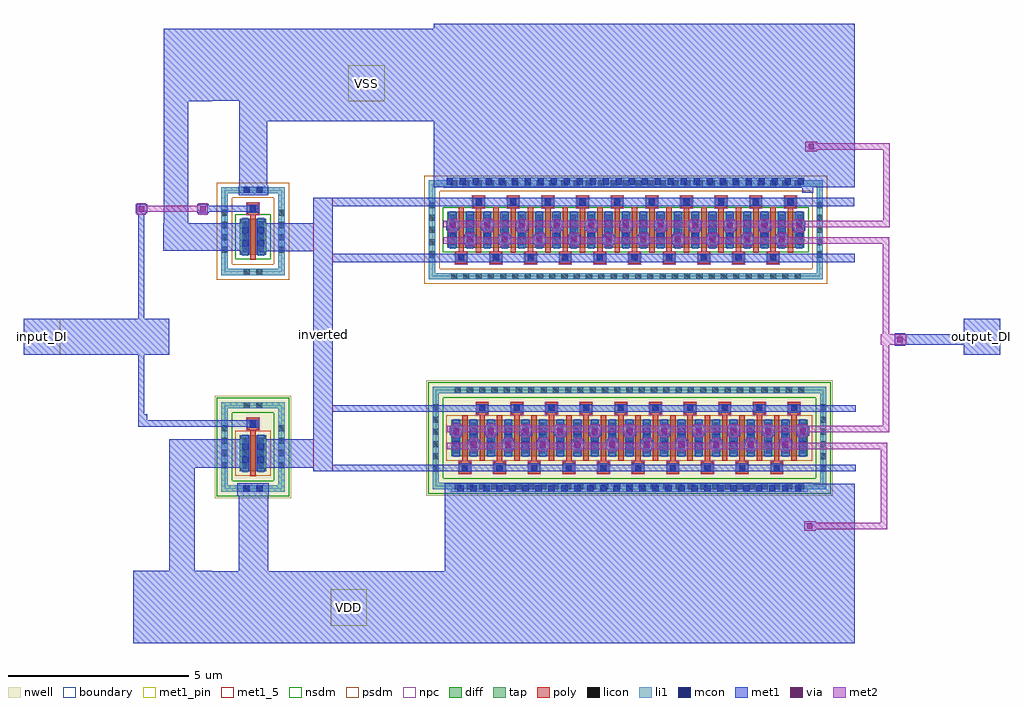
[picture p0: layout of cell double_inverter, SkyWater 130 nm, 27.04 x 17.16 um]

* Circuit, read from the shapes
.subckt double_inverter VDD VSS input_DI inverted output_DI
XM1 inverted input_DI VSS VSS sky130_fd_pr__nfet_01v8 w=1 l=0.15
XM2 output_DI inverted VSS VSS sky130_fd_pr__nfet_01v8 w=1 l=0.15 m=20
XM3 inverted input_DI VDD VDD sky130_fd_pr__pfet_01v8 w=1 l=0.15
XM4 VDD inverted output_DI VDD sky130_fd_pr__pfet_01v8 w=1 l=0.15 m=20
.ends

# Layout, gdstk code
import gdstk
lib = gdstk.Library(unit=1e-6, precision=1e-09)
def R(c, l, rs):  # rectangles x0, y0, x1, y1
    for r in rs: c.add(gdstk.rectangle(r[:2], r[2:], *l))
def A(c, l, x, y, w, h, nx, ny, dx, dy):  # array of equal rectangles
    R(c, l, [(x+i*dx, y+j*dy, x+i*dx+w, y+j*dy+h) for i in range(nx) for j in range(ny)])
nwell = (64, 20)
diff = (65, 20)
tap = (65, 44)
poly = (66, 20)
licon = (66, 44)
li1 = (67, 20)
mcon = (67, 44)
met1_5 = (68, 5)
met1_pin = (68, 16)
met1 = (68, 20)
via = (68, 44)
met2 = (69, 20)
nsdm = (93, 44)
psdm = (94, 20)
npc = (95, 20)
boundary = (235, 4)

sky130_fd_pr__pfet_01v8_ = lib.new_cell('sky130_fd_pr__pfet_01v8_NHFQ4K')
R(sky130_fd_pr__pfet_01v8_, nwell, [(-5.635,-1.595,5.635,1.595)])
R(sky130_fd_pr__pfet_01v8_, diff, [(-4.945,-0.5,4.945,0.5)])
R(sky130_fd_pr__pfet_01v8_, tap, [(-5.455,-1.415,5.455,-1.245), (-5.455,-1.245,-5.285,1.245), (5.285,-1.245,5.455,1.245), (-5.455,1.245,5.455,1.415)])
A(sky130_fd_pr__pfet_01v8_, poly, -4.725, -0.985, 0.33, 0.33, 10, 1, 0.96, 0)
A(sky130_fd_pr__pfet_01v8_, poly, -4.635, -0.655, 0.15, 1.285, 10, 1, 0.96, 0)
A(sky130_fd_pr__pfet_01v8_, poly, -4.155, -0.63, 0.15, 1.285, 10, 1, 0.96, 0)
A(sky130_fd_pr__pfet_01v8_, poly, -4.245, 0.655, 0.33, 0.33, 10, 1, 0.96, 0)
A(sky130_fd_pr__pfet_01v8_, licon, -4.845, -1.415, 0.17, 0.17, 29, 2, 0.34, 2.66)
A(sky130_fd_pr__pfet_01v8_, licon, -5.455, -0.935, 0.17, 0.17, 1, 6, 0, 0.34)
A(sky130_fd_pr__pfet_01v8_, licon, 5.285, -0.935, 0.17, 0.17, 1, 6, 0, 0.34)
A(sky130_fd_pr__pfet_01v8_, licon, -4.645, -0.905, 0.17, 0.17, 10, 1, 0.96, 0)
A(sky130_fd_pr__pfet_01v8_, licon, -4.885, -0.425, 0.17, 0.17, 21, 3, 0.48, 0.34)
A(sky130_fd_pr__pfet_01v8_, licon, -4.165, 0.735, 0.17, 0.17, 10, 1, 0.96, 0)
A(sky130_fd_pr__pfet_01v8_, li1, -4.725, -0.905, 0.33, 0.17, 10, 1, 0.96, 0)
A(sky130_fd_pr__pfet_01v8_, li1, -4.885, -0.52, 0.17, 1.04, 21, 1, 0.48, 0)
A(sky130_fd_pr__pfet_01v8_, li1, -4.245, 0.735, 0.33, 0.17, 10, 1, 0.96, 0)
R(sky130_fd_pr__pfet_01v8_, li1, [(-5.455,-1.415,5.455,-1.245), (-5.455,-1.245,-5.285,1.245), (5.285,-1.245,5.455,1.245), (-5.455,1.245,5.455,1.415)])
A(sky130_fd_pr__pfet_01v8_, mcon, -4.645, -0.905, 0.17, 0.17, 10, 1, 0.96, 0)
A(sky130_fd_pr__pfet_01v8_, mcon, -4.885, -0.265, 0.17, 0.17, 21, 2, 0.48, 0.36)
A(sky130_fd_pr__pfet_01v8_, mcon, -4.165, 0.735, 0.17, 0.17, 10, 1, 0.96, 0)
A(sky130_fd_pr__pfet_01v8_, met1, -4.705, -0.935, 0.29, 0.23, 10, 1, 0.96, 0)
A(sky130_fd_pr__pfet_01v8_, met1, -4.915, -0.5, 0.23, 1, 21, 1, 0.48, 0)
A(sky130_fd_pr__pfet_01v8_, met1, -4.225, 0.705, 0.29, 0.23, 10, 1, 0.96, 0)
R(sky130_fd_pr__pfet_01v8_, nsdm, [(-5.58,-1.54,5.58,-1.12), (-5.58,-1.12,-5.16,1.12), (5.16,-1.12,5.58,1.12), (-5.58,1.12,5.58,1.54)])
R(sky130_fd_pr__pfet_01v8_, psdm, [(-5.07,-0.625,5.07,0.625)])
A(sky130_fd_pr__pfet_01v8_, npc, -4.745, -1.005, 0.37, 0.37, 10, 1, 0.96, 0)
A(sky130_fd_pr__pfet_01v8_, npc, -4.265, 0.635, 0.37, 0.37, 10, 1, 0.96, 0)
R(sky130_fd_pr__pfet_01v8_, boundary, [(-5.37,-1.33,5.37,1.33)])
sky130_fd_pr__pfet_01v8_.add(gdstk.Label('B', (0,-1.33), layer=67, texttype=5))
sky130_fd_pr__pfet_01v8_.add(gdstk.Label('D0', (-4.8,0), layer=67, texttype=5))
sky130_fd_pr__pfet_01v8_.add(gdstk.Label('G0', (-4.56,-0.82), layer=67, texttype=5))
sky130_fd_pr__pfet_01v8_.add(gdstk.Label('S1', (-4.32,0), layer=67, texttype=5))
sky130_fd_pr__pfet_01v8_.add(gdstk.Label('G1', (-4.08,0.82), layer=67, texttype=5))
sky130_fd_pr__pfet_01v8_.add(gdstk.Label('D2', (-3.84,0), layer=67, texttype=5))
sky130_fd_pr__pfet_01v8_.add(gdstk.Label('G2', (-3.6,-0.82), layer=67, texttype=5))
sky130_fd_pr__pfet_01v8_.add(gdstk.Label('S3', (-3.36,0), layer=67, texttype=5))
sky130_fd_pr__pfet_01v8_.add(gdstk.Label('G3', (-3.12,0.82), layer=67, texttype=5))
sky130_fd_pr__pfet_01v8_.add(gdstk.Label('D4', (-2.88,0), layer=67, texttype=5))
sky130_fd_pr__pfet_01v8_.add(gdstk.Label('G4', (-2.64,-0.82), layer=67, texttype=5))
sky130_fd_pr__pfet_01v8_.add(gdstk.Label('S5', (-2.4,0), layer=67, texttype=5))
sky130_fd_pr__pfet_01v8_.add(gdstk.Label('G5', (-2.16,0.82), layer=67, texttype=5))
sky130_fd_pr__pfet_01v8_.add(gdstk.Label('D6', (-1.92,0), layer=67, texttype=5))
sky130_fd_pr__pfet_01v8_.add(gdstk.Label('G6', (-1.68,-0.82), layer=67, texttype=5))
sky130_fd_pr__pfet_01v8_.add(gdstk.Label('S7', (-1.44,0), layer=67, texttype=5))
sky130_fd_pr__pfet_01v8_.add(gdstk.Label('G7', (-1.2,0.82), layer=67, texttype=5))
sky130_fd_pr__pfet_01v8_.add(gdstk.Label('D8', (-0.96,0), layer=67, texttype=5))
sky130_fd_pr__pfet_01v8_.add(gdstk.Label('G8', (-0.72,-0.82), layer=67, texttype=5))
sky130_fd_pr__pfet_01v8_.add(gdstk.Label('S9', (-0.48,0), layer=67, texttype=5))
sky130_fd_pr__pfet_01v8_.add(gdstk.Label('G9', (-0.24,0.82), layer=67, texttype=5))
sky130_fd_pr__pfet_01v8_.add(gdstk.Label('D10', (0,0), layer=67, texttype=5))
sky130_fd_pr__pfet_01v8_.add(gdstk.Label('G10', (0.24,-0.82), layer=67, texttype=5))
sky130_fd_pr__pfet_01v8_.add(gdstk.Label('S11', (0.48,0), layer=67, texttype=5))
sky130_fd_pr__pfet_01v8_.add(gdstk.Label('G11', (0.72,0.82), layer=67, texttype=5))
sky130_fd_pr__pfet_01v8_.add(gdstk.Label('D12', (0.96,0), layer=67, texttype=5))
sky130_fd_pr__pfet_01v8_.add(gdstk.Label('G12', (1.2,-0.82), layer=67, texttype=5))
sky130_fd_pr__pfet_01v8_.add(gdstk.Label('S13', (1.44,0), layer=67, texttype=5))
sky130_fd_pr__pfet_01v8_.add(gdstk.Label('G13', (1.68,0.82), layer=67, texttype=5))
sky130_fd_pr__pfet_01v8_.add(gdstk.Label('D14', (1.92,0), layer=67, texttype=5))
sky130_fd_pr__pfet_01v8_.add(gdstk.Label('G14', (2.16,-0.82), layer=67, texttype=5))
sky130_fd_pr__pfet_01v8_.add(gdstk.Label('S15', (2.4,0), layer=67, texttype=5))
sky130_fd_pr__pfet_01v8_.add(gdstk.Label('G15', (2.64,0.82), layer=67, texttype=5))
sky130_fd_pr__pfet_01v8_.add(gdstk.Label('D16', (2.88,0), layer=67, texttype=5))
sky130_fd_pr__pfet_01v8_.add(gdstk.Label('G16', (3.12,-0.82), layer=67, texttype=5))
sky130_fd_pr__pfet_01v8_.add(gdstk.Label('S17', (3.36,0), layer=67, texttype=5))
sky130_fd_pr__pfet_01v8_.add(gdstk.Label('G17', (3.6,0.82), layer=67, texttype=5))
sky130_fd_pr__pfet_01v8_.add(gdstk.Label('D18', (3.84,0), layer=67, texttype=5))
sky130_fd_pr__pfet_01v8_.add(gdstk.Label('G18', (4.08,-0.82), layer=67, texttype=5))
sky130_fd_pr__pfet_01v8_.add(gdstk.Label('S19', (4.32,0), layer=67, texttype=5))
sky130_fd_pr__pfet_01v8_.add(gdstk.Label('G19', (4.56,0.82), layer=67, texttype=5))

sky130_fd_pr__nfet_01v8_ = lib.new_cell('sky130_fd_pr__nfet_01v8_Z2PLTM')
R(sky130_fd_pr__nfet_01v8_, diff, [(-4.945,-0.5,4.945,0.5)])
R(sky130_fd_pr__nfet_01v8_, tap, [(-5.455,-1.37,5.455,-1.2), (-5.455,-1.2,-5.285,1.2), (5.285,-1.2,5.455,1.2), (-5.455,1.2,5.455,1.37)])
A(sky130_fd_pr__nfet_01v8_, poly, -4.725, -0.94, 0.33, 0.33, 10, 1, 0.96, 0)
A(sky130_fd_pr__nfet_01v8_, poly, -4.155, -0.63, 0.15, 1.24, 10, 1, 0.96, 0)
A(sky130_fd_pr__nfet_01v8_, poly, -4.635, -0.61, 0.15, 1.24, 10, 1, 0.96, 0)
A(sky130_fd_pr__nfet_01v8_, poly, -4.245, 0.61, 0.33, 0.33, 10, 1, 0.96, 0)
A(sky130_fd_pr__nfet_01v8_, licon, -4.845, -1.37, 0.17, 0.17, 29, 2, 0.34, 2.57)
A(sky130_fd_pr__nfet_01v8_, licon, -4.645, -0.86, 0.17, 0.17, 10, 1, 0.96, 0)
A(sky130_fd_pr__nfet_01v8_, licon, -5.455, -0.765, 0.17, 0.17, 1, 5, 0, 0.34)
A(sky130_fd_pr__nfet_01v8_, licon, 5.285, -0.765, 0.17, 0.17, 1, 5, 0, 0.34)
A(sky130_fd_pr__nfet_01v8_, licon, -4.885, -0.425, 0.17, 0.17, 21, 3, 0.48, 0.34)
A(sky130_fd_pr__nfet_01v8_, licon, -4.165, 0.69, 0.17, 0.17, 10, 1, 0.96, 0)
A(sky130_fd_pr__nfet_01v8_, li1, -4.725, -0.86, 0.33, 0.17, 10, 1, 0.96, 0)
A(sky130_fd_pr__nfet_01v8_, li1, -4.885, -0.52, 0.17, 1.04, 21, 1, 0.48, 0)
A(sky130_fd_pr__nfet_01v8_, li1, -4.245, 0.69, 0.33, 0.17, 10, 1, 0.96, 0)
R(sky130_fd_pr__nfet_01v8_, li1, [(-5.455,-1.37,5.455,-1.2), (-5.455,-1.2,-5.285,1.2), (5.285,-1.2,5.455,1.2), (-5.455,1.2,5.455,1.37)])
A(sky130_fd_pr__nfet_01v8_, mcon, -4.645, -0.86, 0.17, 0.17, 10, 1, 0.96, 0)
A(sky130_fd_pr__nfet_01v8_, mcon, -4.885, -0.265, 0.17, 0.17, 21, 2, 0.48, 0.36)
A(sky130_fd_pr__nfet_01v8_, mcon, -4.165, 0.69, 0.17, 0.17, 10, 1, 0.96, 0)
A(sky130_fd_pr__nfet_01v8_, met1, -4.705, -0.89, 0.29, 0.23, 10, 1, 0.96, 0)
A(sky130_fd_pr__nfet_01v8_, met1, -4.915, -0.5, 0.23, 1, 21, 1, 0.48, 0)
A(sky130_fd_pr__nfet_01v8_, met1, -4.225, 0.66, 0.29, 0.23, 10, 1, 0.96, 0)
R(sky130_fd_pr__nfet_01v8_, nsdm, [(-5.07,-0.625,5.07,0.625)])
R(sky130_fd_pr__nfet_01v8_, psdm, [(-5.58,-1.495,5.58,-1.075), (-5.58,-1.075,-5.16,1.075), (5.16,-1.075,5.58,1.075), (-5.58,1.075,5.58,1.495)])
A(sky130_fd_pr__nfet_01v8_, npc, -4.745, -0.96, 0.37, 0.37, 10, 1, 0.96, 0)
A(sky130_fd_pr__nfet_01v8_, npc, -4.265, 0.59, 0.37, 0.37, 10, 1, 0.96, 0)
R(sky130_fd_pr__nfet_01v8_, boundary, [(-5.37,-1.285,5.37,1.285)])
sky130_fd_pr__nfet_01v8_.add(gdstk.Label('B', (0,-1.285), layer=67, texttype=5))
sky130_fd_pr__nfet_01v8_.add(gdstk.Label('D0', (-4.8,0), layer=67, texttype=5))
sky130_fd_pr__nfet_01v8_.add(gdstk.Label('G0', (-4.56,-0.775), layer=67, texttype=5))
sky130_fd_pr__nfet_01v8_.add(gdstk.Label('S1', (-4.32,0), layer=67, texttype=5))
sky130_fd_pr__nfet_01v8_.add(gdstk.Label('G1', (-4.08,0.775), layer=67, texttype=5))
sky130_fd_pr__nfet_01v8_.add(gdstk.Label('D2', (-3.84,0), layer=67, texttype=5))
sky130_fd_pr__nfet_01v8_.add(gdstk.Label('G2', (-3.6,-0.775), layer=67, texttype=5))
sky130_fd_pr__nfet_01v8_.add(gdstk.Label('S3', (-3.36,0), layer=67, texttype=5))
sky130_fd_pr__nfet_01v8_.add(gdstk.Label('G3', (-3.12,0.775), layer=67, texttype=5))
sky130_fd_pr__nfet_01v8_.add(gdstk.Label('D4', (-2.88,0), layer=67, texttype=5))
sky130_fd_pr__nfet_01v8_.add(gdstk.Label('G4', (-2.64,-0.775), layer=67, texttype=5))
sky130_fd_pr__nfet_01v8_.add(gdstk.Label('S5', (-2.4,0), layer=67, texttype=5))
sky130_fd_pr__nfet_01v8_.add(gdstk.Label('G5', (-2.16,0.775), layer=67, texttype=5))
sky130_fd_pr__nfet_01v8_.add(gdstk.Label('D6', (-1.92,0), layer=67, texttype=5))
sky130_fd_pr__nfet_01v8_.add(gdstk.Label('G6', (-1.68,-0.775), layer=67, texttype=5))
sky130_fd_pr__nfet_01v8_.add(gdstk.Label('S7', (-1.44,0), layer=67, texttype=5))
sky130_fd_pr__nfet_01v8_.add(gdstk.Label('G7', (-1.2,0.775), layer=67, texttype=5))
sky130_fd_pr__nfet_01v8_.add(gdstk.Label('D8', (-0.96,0), layer=67, texttype=5))
sky130_fd_pr__nfet_01v8_.add(gdstk.Label('G8', (-0.72,-0.775), layer=67, texttype=5))
sky130_fd_pr__nfet_01v8_.add(gdstk.Label('S9', (-0.48,0), layer=67, texttype=5))
sky130_fd_pr__nfet_01v8_.add(gdstk.Label('G9', (-0.24,0.775), layer=67, texttype=5))
sky130_fd_pr__nfet_01v8_.add(gdstk.Label('D10', (0,0), layer=67, texttype=5))
sky130_fd_pr__nfet_01v8_.add(gdstk.Label('G10', (0.24,-0.775), layer=67, texttype=5))
sky130_fd_pr__nfet_01v8_.add(gdstk.Label('S11', (0.48,0), layer=67, texttype=5))
sky130_fd_pr__nfet_01v8_.add(gdstk.Label('G11', (0.72,0.775), layer=67, texttype=5))
sky130_fd_pr__nfet_01v8_.add(gdstk.Label('D12', (0.96,0), layer=67, texttype=5))
sky130_fd_pr__nfet_01v8_.add(gdstk.Label('G12', (1.2,-0.775), layer=67, texttype=5))
sky130_fd_pr__nfet_01v8_.add(gdstk.Label('S13', (1.44,0), layer=67, texttype=5))
sky130_fd_pr__nfet_01v8_.add(gdstk.Label('G13', (1.68,0.775), layer=67, texttype=5))
sky130_fd_pr__nfet_01v8_.add(gdstk.Label('D14', (1.92,0), layer=67, texttype=5))
sky130_fd_pr__nfet_01v8_.add(gdstk.Label('G14', (2.16,-0.775), layer=67, texttype=5))
sky130_fd_pr__nfet_01v8_.add(gdstk.Label('S15', (2.4,0), layer=67, texttype=5))
sky130_fd_pr__nfet_01v8_.add(gdstk.Label('G15', (2.64,0.775), layer=67, texttype=5))
sky130_fd_pr__nfet_01v8_.add(gdstk.Label('D16', (2.88,0), layer=67, texttype=5))
sky130_fd_pr__nfet_01v8_.add(gdstk.Label('G16', (3.12,-0.775), layer=67, texttype=5))
sky130_fd_pr__nfet_01v8_.add(gdstk.Label('S17', (3.36,0), layer=67, texttype=5))
sky130_fd_pr__nfet_01v8_.add(gdstk.Label('G17', (3.6,0.775), layer=67, texttype=5))
sky130_fd_pr__nfet_01v8_.add(gdstk.Label('D18', (3.84,0), layer=67, texttype=5))
sky130_fd_pr__nfet_01v8_.add(gdstk.Label('G18', (4.08,-0.775), layer=67, texttype=5))
sky130_fd_pr__nfet_01v8_.add(gdstk.Label('S19', (4.32,0), layer=67, texttype=5))
sky130_fd_pr__nfet_01v8_.add(gdstk.Label('G19', (4.56,0.775), layer=67, texttype=5))

c_sky130_fd_pr__pfet_01v8_ = lib.new_cell('sky130_fd_pr__pfet_01v8_5EFTGG')
R(c_sky130_fd_pr__pfet_01v8_, nwell, [(-1.055,-1.42,1.055,1.42)])
R(c_sky130_fd_pr__pfet_01v8_, diff, [(-0.365,-0.68,0.365,0.32)])
R(c_sky130_fd_pr__pfet_01v8_, tap, [(-0.875,-1.24,0.875,-1.07), (-0.875,-1.07,-0.705,1.07), (0.705,-1.07,0.875,1.07), (-0.875,1.07,0.875,1.24)])
R(c_sky130_fd_pr__pfet_01v8_, poly, [(-0.075,-0.81,0.075,0.475), (-0.165,0.475,0.165,0.805)])
A(c_sky130_fd_pr__pfet_01v8_, licon, -0.305, -0.605, 0.17, 0.17, 1, 3, 0, 0.34)
A(c_sky130_fd_pr__pfet_01v8_, licon, 0.135, -0.605, 0.17, 0.17, 1, 3, 0, 0.34)
A(c_sky130_fd_pr__pfet_01v8_, licon, -0.875, -0.595, 0.17, 0.17, 1, 4, 0, 0.34)
A(c_sky130_fd_pr__pfet_01v8_, licon, 0.705, -0.595, 0.17, 0.17, 1, 4, 0, 0.34)
R(c_sky130_fd_pr__pfet_01v8_, licon, [(-0.255,-1.24,-0.085,-1.07), (0.085,-1.24,0.255,-1.07), (-0.085,0.555,0.085,0.725), (-0.255,1.07,-0.085,1.24), (0.085,1.07,0.255,1.24)])
R(c_sky130_fd_pr__pfet_01v8_, li1, [(-0.875,-1.24,0.875,-1.07), (-0.875,-1.07,-0.705,1.07), (0.705,-1.07,0.875,1.07), (-0.305,-0.7,-0.135,0.34), (0.135,-0.7,0.305,0.34), (-0.165,0.555,0.165,0.725), (-0.875,1.07,0.875,1.24)])
R(c_sky130_fd_pr__pfet_01v8_, mcon, [(-0.305,-0.445,-0.135,-0.275), (0.135,-0.445,0.305,-0.275), (-0.305,-0.085,-0.135,0.085), (0.135,-0.085,0.305,0.085), (-0.085,0.555,0.085,0.725)])
R(c_sky130_fd_pr__pfet_01v8_, met1, [(-0.335,-0.68,-0.105,0.32), (0.105,-0.68,0.335,0.32), (-0.145,0.525,0.145,0.755)])
R(c_sky130_fd_pr__pfet_01v8_, nsdm, [(-1,-1.365,1,-0.945), (-1,-0.945,-0.58,0.945), (0.58,-0.945,1,0.945), (-1,0.945,1,1.365)])
R(c_sky130_fd_pr__pfet_01v8_, psdm, [(-0.49,-0.805,0.49,0.445)])
R(c_sky130_fd_pr__pfet_01v8_, npc, [(-0.185,0.455,0.185,0.825)])
R(c_sky130_fd_pr__pfet_01v8_, boundary, [(-0.79,-1.155,0.79,1.155)])
c_sky130_fd_pr__pfet_01v8_.add(gdstk.Label('B', (0,-1.155), layer=67, texttype=5))
c_sky130_fd_pr__pfet_01v8_.add(gdstk.Label('D', (-0.22,-0.18), layer=67, texttype=5))
c_sky130_fd_pr__pfet_01v8_.add(gdstk.Label('S', (0.22,-0.18), layer=67, texttype=5))
c_sky130_fd_pr__pfet_01v8_.add(gdstk.Label('G', (0,0.64), layer=67, texttype=5))

c_sky130_fd_pr__nfet_01v8_ = lib.new_cell('sky130_fd_pr__nfet_01v8_PNATEX')
R(c_sky130_fd_pr__nfet_01v8_, diff, [(-0.365,-0.655,0.365,0.345)])
R(c_sky130_fd_pr__nfet_01v8_, tap, [(-0.875,-1.215,0.875,-1.045), (-0.875,-1.045,-0.705,1.045), (0.705,-1.045,0.875,1.045), (-0.875,1.045,0.875,1.215)])
R(c_sky130_fd_pr__nfet_01v8_, poly, [(-0.075,-0.785,0.075,0.455), (-0.165,0.455,0.165,0.785)])
A(c_sky130_fd_pr__nfet_01v8_, licon, -0.875, -0.595, 0.17, 0.17, 1, 4, 0, 0.34)
A(c_sky130_fd_pr__nfet_01v8_, licon, 0.705, -0.595, 0.17, 0.17, 1, 4, 0, 0.34)
A(c_sky130_fd_pr__nfet_01v8_, licon, -0.305, -0.58, 0.17, 0.17, 1, 3, 0, 0.34)
A(c_sky130_fd_pr__nfet_01v8_, licon, 0.135, -0.58, 0.17, 0.17, 1, 3, 0, 0.34)
R(c_sky130_fd_pr__nfet_01v8_, licon, [(-0.255,-1.215,-0.085,-1.045), (0.085,-1.215,0.255,-1.045), (-0.085,0.535,0.085,0.705), (-0.255,1.045,-0.085,1.215), (0.085,1.045,0.255,1.215)])
R(c_sky130_fd_pr__nfet_01v8_, li1, [(-0.875,-1.215,0.875,-1.045), (-0.875,-1.045,-0.705,1.045), (0.705,-1.045,0.875,1.045), (-0.305,-0.675,-0.135,0.365), (0.135,-0.675,0.305,0.365), (-0.165,0.535,0.165,0.705), (-0.875,1.045,0.875,1.215)])
R(c_sky130_fd_pr__nfet_01v8_, mcon, [(-0.305,-0.42,-0.135,-0.25), (0.135,-0.42,0.305,-0.25), (-0.305,-0.06,-0.135,0.11), (0.135,-0.06,0.305,0.11), (-0.085,0.535,0.085,0.705)])
R(c_sky130_fd_pr__nfet_01v8_, met1, [(-0.335,-0.655,-0.105,0.345), (0.105,-0.655,0.335,0.345), (-0.145,0.505,0.145,0.735)])
R(c_sky130_fd_pr__nfet_01v8_, nsdm, [(-0.49,-0.78,0.49,0.47)])
R(c_sky130_fd_pr__nfet_01v8_, psdm, [(-1,-1.34,1,-0.92), (-1,-0.92,-0.58,0.92), (0.58,-0.92,1,0.92), (-1,0.92,1,1.34)])
R(c_sky130_fd_pr__nfet_01v8_, npc, [(-0.185,0.435,0.185,0.805)])
R(c_sky130_fd_pr__nfet_01v8_, boundary, [(-0.79,-1.13,0.79,1.13)])
c_sky130_fd_pr__nfet_01v8_.add(gdstk.Label('B', (0,-1.13), layer=67, texttype=5))
c_sky130_fd_pr__nfet_01v8_.add(gdstk.Label('D', (-0.22,-0.155), layer=67, texttype=5))
c_sky130_fd_pr__nfet_01v8_.add(gdstk.Label('S', (0.22,-0.155), layer=67, texttype=5))
c_sky130_fd_pr__nfet_01v8_.add(gdstk.Label('G', (0,0.62), layer=67, texttype=5))

double_inverter = lib.new_cell('double_inverter')
R(double_inverter, li1, [(15.81,-8.82,25.68,-8.61), (9.93,-8.81,10.7,-8.64), (9.98,-0.53,10.67,-0.36), (15.68,-0.32,25.58,-0.12)])
A(double_inverter, mcon, 15.98, -8.8, 0.17, 0.17, 27, 1, 0.36, 0)
A(double_inverter, mcon, 15.685, -0.305, 0.17, 0.17, 28, 1, 0.36, 0)
R(double_inverter, mcon, [(10.05,-8.81,10.22,-8.64), (10.41,-8.81,10.58,-8.64), (10.06,-0.53,10.23,-0.36), (10.42,-0.53,10.59,-0.36)])
R(double_inverter, met1_5, [(11.99,-8.24,12.52,-0.67)])
R(double_inverter, met1_pin, [(12.47,-12.52,13.47,-11.52), (3.97,-5.02,4.97,-4.02), (30.01,-5.02,31.01,-4.02), (12.96,2,13.96,3)])
A(double_inverter, met1, 16.25, -7.64, 0.36, 0.27, 10, 1, 0.96, 0)
A(double_inverter, met1, 17.69, -7.26, 0.36, 0.27, 5, 1, 0.96, 0)
A(double_inverter, met1, 16.15, -1.96, 0.36, 0.27, 10, 1, 0.96, 0)
A(double_inverter, met1, 17.59, -1.58, 0.36, 0.27, 5, 1, 0.96, 0)
R(double_inverter, met1, [(7,-13.01,26.99,-11.01), (7,-11.01,9.17,-11), (9.92,-11.01,10.73,-8.92), (15.63,-11.01,26.99,-8.59), (8,-11,8.7,-8.15), (9.88,-8.92,10.75,-8.58), (15.64,-8.59,25.81,-8.58), (25.56,-8.58,25.8,-8.57), (11.99,-8.24,27.01,-8.15), (8,-8.15,10.17,-7.36), (10.47,-8.15,27.01,-8.06), (10.47,-8.06,12.52,-7.36), (11.99,-7.36,12.52,-6.6), (22.48,-7.26,22.84,-6.99), (23.45,-7.26,23.81,-6.99), (24.41,-7.26,24.77,-6.99), (25.36,-7.26,25.72,-6.99), (15.77,-7.25,16.13,-6.98), (16.73,-7.25,17.09,-6.98), (7.13,-7.02,10.39,-6.84), (7.13,-6.84,7.39,-6.67), (7.135,-6.67,7.305,-5.02), (11.99,-6.6,27.01,-6.42), (11.99,-6.42,12.52,-2.45), (3.97,-5.02,8,-4.02), (30.01,-5.02,31.01,-4.745), (28.095,-4.775,28.385,-4.745), (28.095,-4.745,31.01,-4.455), (28.095,-4.455,28.385,-4.425), (30.01,-4.455,31.01,-4.02), (7.135,-4.02,7.305,-1.105), (11.99,-2.45,26.98,-2.22), (11.99,-2.22,12.52,-2.15), (10.48,-2.15,12.52,-1.37), (7.83,-2.14,10.17,-1.37), (22.38,-1.58,22.74,-1.31), (23.35,-1.58,23.71,-1.31), (24.31,-1.58,24.67,-1.31), (25.26,-1.58,25.62,-1.31), (15.67,-1.57,16.03,-1.3), (16.63,-1.57,16.99,-1.3), (7.84,-1.37,8.52,2.01), (11.99,-1.37,12.52,-0.9), (7.06,-1.105,7.38,-0.845), (8.77,-1.105,9.09,-1.06), (8.77,-1.06,10.4,-0.89), (11.99,-0.9,26.97,-0.67), (8.77,-0.89,9.09,-0.845), (9.92,-0.6,10.74,-0.34), (25.53,-0.53,25.83,-0.39), (15.6,-0.39,25.83,-0.38), (15.32,-0.38,26.99,1.45), (9.94,-0.34,10.71,1.45), (9.94,1.45,26.99,2.02), (7.84,2.01,9.17,2.02), (7.84,2.02,26.99,4.01), (7.84,4.01,8.83,4.02), (15.32,4.01,26.99,4.15)])
A(double_inverter, via, 16.355, -7.58, 0.15, 0.15, 10, 1, 0.96, 0)
A(double_inverter, via, 17.795, -7.2, 0.15, 0.15, 5, 1, 0.96, 0)
A(double_inverter, via, 16.255, -1.9, 0.15, 0.15, 10, 1, 0.96, 0)
A(double_inverter, via, 17.695, -1.52, 0.15, 0.15, 5, 1, 0.96, 0)
R(double_inverter, via, [(25.665,-9.835,25.815,-9.685), (22.585,-7.2,22.735,-7.05), (23.555,-7.2,23.705,-7.05), (24.515,-7.2,24.665,-7.05), (25.465,-7.2,25.615,-7.05), (15.875,-7.19,16.025,-7.04), (16.835,-7.19,16.985,-7.04), (28.165,-4.675,28.315,-4.525), (22.485,-1.52,22.635,-1.37), (23.455,-1.52,23.605,-1.37), (24.415,-1.52,24.565,-1.37), (25.365,-1.52,25.515,-1.37), (15.775,-1.51,15.925,-1.36), (16.735,-1.51,16.885,-1.36), (7.145,-1.05,7.295,-0.9), (8.855,-1.05,9.005,-0.9), (25.705,0.675,25.855,0.825)])
A(double_inverter, met2, 16.3, -7.69, 0.26, 0.06, 10, 1, 0.96, 0)
A(double_inverter, met2, 16.3, -7.45, 0.26, 0.13, 10, 1, 0.96, 0)
A(double_inverter, met2, 17.74, -7.31, 0.26, 0.14, 5, 1, 0.96, 0)
A(double_inverter, met2, 17.74, -6.99, 0.26, 0.05, 5, 1, 0.96, 0)
A(double_inverter, met2, 16.2, -2.01, 0.26, 0.06, 10, 1, 0.96, 0)
A(double_inverter, met2, 16.2, -1.77, 0.26, 0.13, 10, 1, 0.96, 0)
A(double_inverter, met2, 17.64, -1.63, 0.26, 0.14, 5, 1, 0.96, 0)
A(double_inverter, met2, 17.64, -1.31, 0.26, 0.05, 5, 1, 0.96, 0)
R(double_inverter, met2, [(25.58,-9.89,25.9,-9.85), (25.58,-9.85,27.89,-9.67), (25.58,-9.67,25.9,-9.63), (27.71,-9.67,27.89,-7.63), (15.68,-7.63,27.89,-7.45), (22.53,-7.31,22.79,-7.17), (23.5,-7.31,23.76,-7.17), (24.46,-7.31,24.72,-7.17), (25.41,-7.31,25.67,-7.17), (15.82,-7.3,16.08,-7.17), (16.78,-7.3,17.04,-7.17), (15.68,-7.17,27.94,-6.99), (15.82,-6.99,16.08,-6.93), (16.78,-6.99,17.04,-6.93), (22.53,-6.99,22.79,-6.94), (23.5,-6.99,23.76,-6.94), (24.46,-6.99,24.72,-6.94), (25.41,-6.99,25.67,-6.94), (27.76,-6.99,27.94,-4.745), (27.705,-4.745,28.415,-4.455), (27.76,-4.455,27.94,-1.95), (15.58,-1.95,27.94,-1.77), (22.43,-1.63,22.69,-1.49), (23.4,-1.63,23.66,-1.49), (24.36,-1.63,24.62,-1.49), (25.31,-1.63,25.57,-1.49), (15.72,-1.62,15.98,-1.49), (16.68,-1.62,16.94,-1.49), (15.58,-1.49,27.95,-1.31), (15.72,-1.31,15.98,-1.25), (16.68,-1.31,16.94,-1.25), (22.43,-1.31,22.69,-1.26), (23.4,-1.31,23.66,-1.26), (24.36,-1.31,24.62,-1.26), (25.31,-1.31,25.57,-1.26), (27.77,-1.31,27.95,0.66), (7.09,-1.135,7.35,-1.06), (8.8,-1.135,9.06,-1.06), (7.09,-1.06,9.06,-0.89), (7.09,-0.89,7.35,-0.815), (8.8,-0.89,9.06,-0.815), (25.62,0.62,25.94,0.66), (25.62,0.66,27.95,0.84), (25.62,0.84,25.94,0.88)])
double_inverter.add(gdstk.Reference(sky130_fd_pr__pfet_01v8_, (20.745,-7.325)))
double_inverter.add(gdstk.Reference(sky130_fd_pr__nfet_01v8_, (20.645,-1.56)))
double_inverter.add(gdstk.Reference(c_sky130_fd_pr__pfet_01v8_, (10.315,-7.57)))
double_inverter.add(gdstk.Reference(c_sky130_fd_pr__nfet_01v8_, (10.315,-1.595)))
double_inverter.add(gdstk.Label('inverted', (12.255,-4.455), layer=68, texttype=5))
double_inverter.add(gdstk.Label('VDD', (12.97,-12.02), layer=68, texttype=5))
double_inverter.add(gdstk.Label('input_DI', (4.47,-4.52), layer=68, texttype=5))
double_inverter.add(gdstk.Label('output_DI', (30.51,-4.52), layer=68, texttype=5))
double_inverter.add(gdstk.Label('VSS', (13.46,2.5), layer=68, texttype=5))

lib.write_gds('double_inverter.gds')
